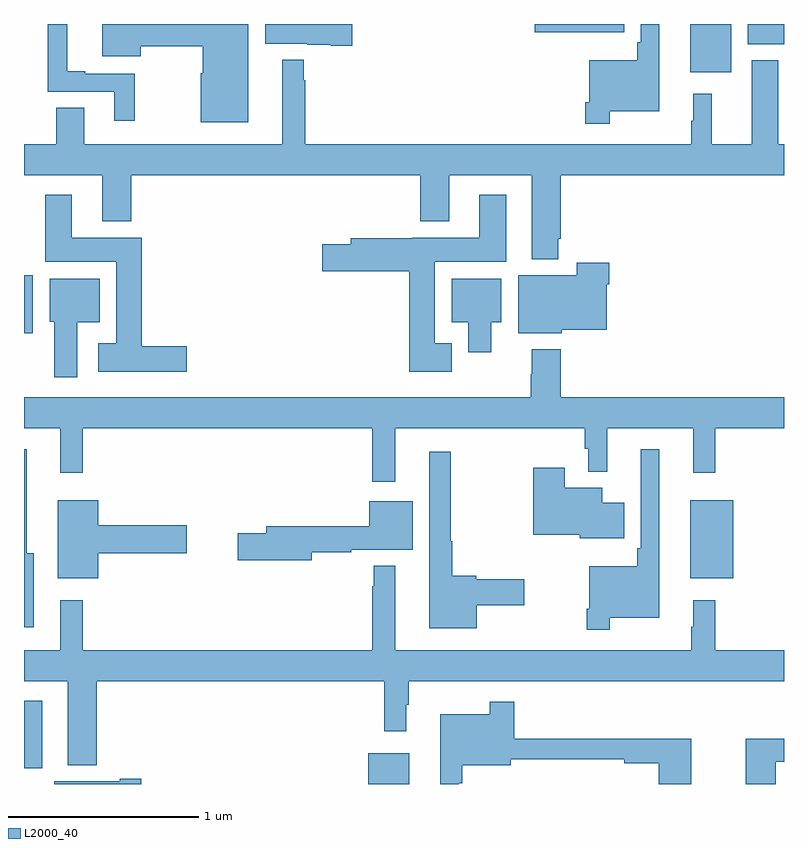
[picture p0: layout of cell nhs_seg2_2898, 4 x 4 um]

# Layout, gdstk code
import gdstk
lib = gdstk.Library(unit=1e-6, precision=1e-09)
def R(c, l, rs):  # rectangles x0, y0, x1, y1
    for r in rs: c.add(gdstk.rectangle(r[:2], r[2:], *l))
def P(c, l, *ps):  # polygons
    for p in ps: c.add(gdstk.Polygon(p, *l))
L2000_40 = (2000, 40)

nhs_seg2_2898 = lib.new_cell('nhs_seg2_2898')
R(nhs_seg2_2898, L2000_40, [(264.812,609.8,265.027,609.961), (263,609.884,263.095,610.237), (266.507,610.883,266.734,611.293), (263,612.173,263.047,612.478), (266.507,613.547,266.722,613.8), (266.81,613.694,267,613.8), (265.688,613.757,266.158,613.8)])
P(nhs_seg2_2898, L2000_40, [(266.083,613.34),(266.344,613.34),(266.344,613.8),(266.247,613.8),(266.247,613.705),(266.227,613.705),(266.227,613.609),(265.974,613.609),(265.974,613.387),(265.954,613.387),(265.954,613.275),(266.083,613.275)],
  [(264.727,613.8),(264.269,613.8),(264.269,613.697),(264.492,613.697),(264.492,613.691),(264.614,613.691),(264.614,613.685),(264.727,613.685)],
  [(264.181,613.8),(263.411,613.8),(263.411,613.631),(263.614,613.631),(263.614,613.684),(263.942,613.684),(263.942,613.542),(263.93,613.542),(263.93,613.283),(264.181,613.283)],
  [(263.584,613.539),(263.323,613.539),(263.323,613.552),(263.228,613.552),(263.228,613.8),(263.125,613.8),(263.125,613.443),(263.474,613.443),(263.474,613.29),(263.584,613.29)],
  [(263.17,613.358),(263.17,613.168),(263,613.168),(263,613.004),(263.411,613.004),(263.411,612.761),(263.564,612.761),(263.564,613.004),(265.085,613.004),(265.085,612.761),(265.237,612.761),(265.237,613.004),(265.673,613.004),(265.673,612.563),(265.813,612.563),(265.813,612.67),(265.826,612.67),(265.826,613.004),(267,613.004),(267,613.168),(266.971,613.168),(266.971,613.609),(266.831,613.609),(266.831,613.168),(266.621,613.168),(266.621,613.432),(266.522,613.432),(266.522,613.292),(266.511,613.292),(266.511,613.168),(264.481,613.168),(264.481,613.505),(264.473,613.505),(264.473,613.612),(264.359,613.612),(264.359,613.168),(263.317,613.168),(263.317,613.358)],
  [(263.857,612.104),(263.621,612.104),(263.621,612.676),(263.251,612.676),(263.251,612.901),(263.111,612.901),(263.111,612.548),(263.486,612.548),(263.486,612.121),(263.391,612.121),(263.391,611.969),(263.857,611.969)],
  [(265.252,612.121),(265.162,612.121),(265.162,612.548),(265.537,612.548),(265.537,612.901),(265.397,612.901),(265.397,612.676),(265.044,612.676),(265.044,612.672),(264.719,612.672),(264.719,612.642),(264.57,612.642),(264.57,612.5),(265.028,612.5),(265.028,611.969),(265.252,611.969)],
  [(265.83,612.191),(266.068,612.191),(266.068,612.431),(266.081,612.431),(266.081,612.544),(265.91,612.544),(265.91,612.478),(265.601,612.478),(265.601,612.173),(265.83,612.173)],
  [(265.459,612.23),(265.513,612.23),(265.513,612.46),(265.25,612.46),(265.25,612.23),(265.337,612.23),(265.337,612.072),(265.459,612.072)],
  [(263.281,612.23),(263.398,612.23),(263.398,612.46),(263.135,612.46),(263.135,612.234),(263.159,612.234),(263.159,611.94),(263.281,611.94)],
  [(264.955,611.672),(265.951,611.672),(265.951,611.565),(265.971,611.565),(265.971,611.444),(266.069,611.444),(266.069,611.672),(266.522,611.672),(266.522,611.439),(266.639,611.439),(266.639,611.672),(267,611.672),(267,611.836),(265.826,611.836),(265.826,612.088),(265.673,612.088),(265.673,611.957),(265.666,611.957),(265.666,611.836),(263,611.836),(263,611.672),(263.192,611.672),(263.192,611.439),(263.309,611.439),(263.309,611.672),(264.834,611.672),(264.834,611.391),(264.955,611.391)],
  [(263.05,611.014),(263.014,611.014),(263.014,611.563),(263,611.563),(263,610.626),(263.05,610.626)],
  [(266.083,610.676),(266.344,610.676),(266.344,611.563),(266.247,611.563),(266.247,611.041),(266.227,611.041),(266.227,610.945),(265.974,610.945),(265.974,610.723),(265.962,610.723),(265.962,610.611),(266.083,610.611)],
  [(265.384,610.742),(265.633,610.742),(265.633,610.877),(265.38,610.877),(265.38,610.895),(265.255,610.895),(265.255,611.078),(265.247,611.078),(265.247,611.548),(265.133,611.548),(265.133,610.619),(265.384,610.619)],
  [(266.158,611.281),(266.044,611.281),(266.044,611.359),(265.846,611.359),(265.846,611.464),(265.681,611.464),(265.681,611.111),(265.926,611.111),(265.926,611.093),(266.158,611.093)],
  [(263.392,611.015),(263.857,611.015),(263.857,611.162),(263.392,611.162),(263.392,611.293),(263.177,611.293),(263.177,610.883),(263.392,610.883)],
  [(264.514,611.02),(264.722,611.02),(264.722,611.033),(265.045,611.033),(265.045,611.287),(264.818,611.287),(264.818,611.156),(264.275,611.156),(264.275,611.12),(264.126,611.12),(264.126,610.978),(264.514,610.978)],
  [(266.522,610.768),(266.522,610.628),(266.511,610.628),(266.511,610.504),(264.955,610.504),(264.955,610.948),(264.84,610.948),(264.84,610.841),(264.834,610.841),(264.834,610.504),(263.309,610.504),(263.309,610.768),(263.192,610.768),(263.192,610.504),(263,610.504),(263,610.34),(263.231,610.34),(263.231,609.899),(263.384,609.899),(263.384,610.34),(264.895,610.34),(264.895,610.077),(265.012,610.077),(265.012,610.217),(265.024,610.217),(265.024,610.34),(267,610.34),(267,610.504),(266.639,610.504),(266.639,610.768)],
  [(265.287,609.803),(265.307,609.803),(265.307,609.899),(265.561,609.899),(265.561,609.929),(266.158,609.929),(266.158,609.91),(266.342,609.91),(266.342,609.8),(266.512,609.8),(266.512,610.039),(265.58,610.039),(265.58,610.234),(265.452,610.234),(265.452,610.168),(265.19,610.168),(265.19,609.8),(265.287,609.8)],
  [(266.956,609.917),(267,609.917),(267,610.039),(266.798,610.039),(266.798,609.8),(266.956,609.8)],
  [(263.617,609.827),(263.504,609.827),(263.504,609.814),(263.159,609.814),(263.159,609.8),(263.617,609.8)])

lib.write_gds('nhs_seg2_2898.gds')
